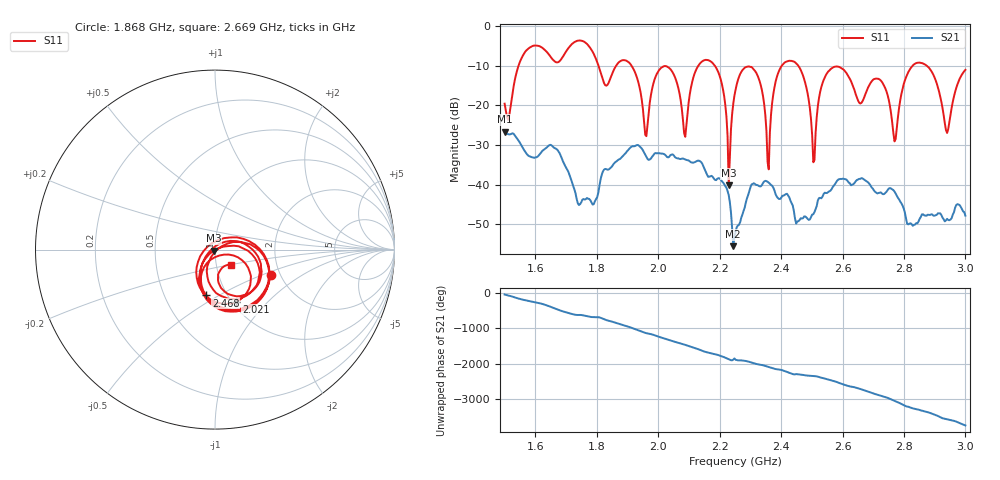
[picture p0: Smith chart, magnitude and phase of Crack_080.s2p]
# HZ S RI R 50
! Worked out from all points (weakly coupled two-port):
!   404 points, 1.5 GHz to 3 GHz, reference 50 ohm
!   highest |S21| = -26.58 dB at 1.5 GHz (marker M1); lowest = -55.6 dB at 2.244 GHz (marker M2)
!   lowest |S11| = -40.2 dB at 2.23 GHz (marker M3), VSWR 1.02, Z = 49.2 - j0.572 ohm
!   |S11| at or under -10 dB: 1.914 GHz to 2.13 GHz (216.7 MHz wide, 10.7 % of centre); 2.185 GHz to 2.402 GHz (217.1 MHz wide, 9.47 % of centre); 2.456 GHz to 2.828 GHz (371.4 MHz wide, 14.1 % of centre) (the widest 3 of 6)
!   S12 and S22 are empty: the file has one direction only
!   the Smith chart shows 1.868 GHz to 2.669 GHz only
!   S11 on the Smith chart (normalised r, x): 1.868 GHz: 1.78, -0.57; 2.021 GHz: 1.05, -0.68; 2.468 GHz: 0.80, -0.44; 2.669 GHz: 1.18, -0.20
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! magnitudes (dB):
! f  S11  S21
! 1.5 GHz  -19.5  -26.6
! 1.753 GHz  -3.7  -43.8
! 1.868 GHz  -9.4  -33.8
! 1.962 GHz  -27.8  -33.0
! 2.002 GHz  -11.1  -32.1
! 2.021 GHz  -10.0  -32.4
! 2.088 GHz  -27.9  -33.6
! 2.181 GHz  -9.6  -38.5
! 2.23 GHz  -40.2  -42.6
! 2.244 GHz  -19.5  -55.6
! 2.252 GHz  -16.0  -52.0
! 2.315 GHz  -11.3  -39.8
! 2.36 GHz  -36.1  -39.5
! 2.397 GHz  -10.6  -43.6
! 2.468 GHz  -11.7  -48.6
! 2.501 GHz  -27.6  -47.6
! 2.565 GHz  -10.6  -41.1
! 2.669 GHz  -18.3  -38.6
! 2.751 GHz  -18.6  -41.0
! 2.862 GHz  -9.4  -47.5
! 2.94 GHz  -27.0  -48.6
! 3 GHz  -11.0  -47.9
